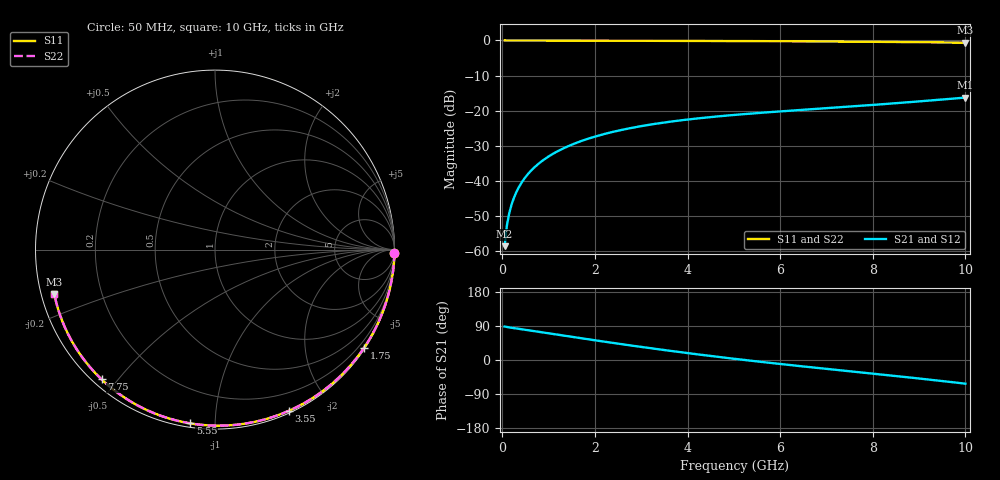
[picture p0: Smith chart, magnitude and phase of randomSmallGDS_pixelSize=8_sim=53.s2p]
! freq	dB(S11)	phase(S11)	dB(S12)	phase(S12)
!  dB(S21)	phase(S21)	dB(S22)	phase(S22)
!S-par simulation data
#  GHz  S  DB  R 50
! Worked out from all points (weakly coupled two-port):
!   200 points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, 50 MHz to 10 GHz, reference 50 ohm
!   highest |S21| = -16.29 dB at 10 GHz (marker M1); lowest = -58.7 dB at 50 MHz (marker M2)
!   lowest |S11| = -0.6 dB at 10 GHz (marker M3), VSWR 27.16, Z = 1.87 - j6.76 ohm
!   |S11| at or under -10 dB: nowhere
!   |S22| runs from -0.6 to 0.0 dB; largest |S21 - S12| = 0
!   S11 on the Smith chart (normalised r, x): 50 MHz: open; 1.75 GHz: 0.03, -3.34; 3.55 GHz: 0.02, -1.55; 5.55 GHz: 0.02, -0.87; 7.75 GHz: 0.02, -0.45; 10 GHz: 0.04, -0.14
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0.05  -0.00 -1.0  -58.68 88.4  -58.68 88.4  -0.00 -1.0
0.1  -0.00 -1.9  -52.72 87.1  -52.72 87.1  -0.00 -1.9
0.15  -0.00 -2.9  -49.27 86.0  -49.27 86.0  -0.00 -2.9
0.2  -0.00 -3.9  -46.82 85.0  -46.82 85.0  -0.00 -3.9
0.25  -0.00 -4.9  -44.92 84.1  -44.92 84.1  -0.00 -4.9
0.35  -0.01 -6.8  -42.04 82.4  -42.04 82.4  -0.01 -6.8
0.5  -0.01 -9.7  -38.99 79.7  -38.99 79.7  -0.01 -9.7
0.7  -0.02 -13.5  -36.12 76.0  -36.12 76.0  -0.02 -13.5
1  -0.03 -19.2  -33.09 70.4  -33.09 70.4  -0.03 -19.2
1.35  -0.04 -25.8  -30.59 63.9  -30.59 63.9  -0.04 -25.8
1.75  -0.05 -33.3  -28.48 56.6  -28.48 56.6  -0.05 -33.3
2.6  -0.07 -48.8  -25.45 41.4  -25.45 41.4  -0.07 -48.8
3.4  -0.10 -62.9  -23.59 27.9  -23.59 27.9  -0.10 -62.9
3.55  -0.11 -65.5  -23.31 25.4  -23.31 25.4  -0.11 -65.5
4.3  -0.13 -78.1  -22.12 13.6  -22.12 13.6  -0.13 -78.1
5.05  -0.17 -90.3  -21.20 2.6  -21.20 2.6  -0.17 -90.3
5.55  -0.19 -98.1  -20.67 -4.4  -20.67 -4.4  -0.19 -98.1
6.7  -0.27 -115.6  -19.59 -19.6  -19.59 -19.6  -0.27 -115.6
7.75  -0.35 -131.2  -18.63 -32.8  -18.63 -32.8  -0.35 -131.1
8.35  -0.41 -140.0  -18.05 -40.4  -18.05 -40.4  -0.41 -139.9
9.2  -0.52 -152.5  -17.17 -51.5  -17.17 -51.5  -0.52 -152.5
10  -0.64 -164.6  -16.29 -62.5  -16.29 -62.5  -0.64 -164.6
